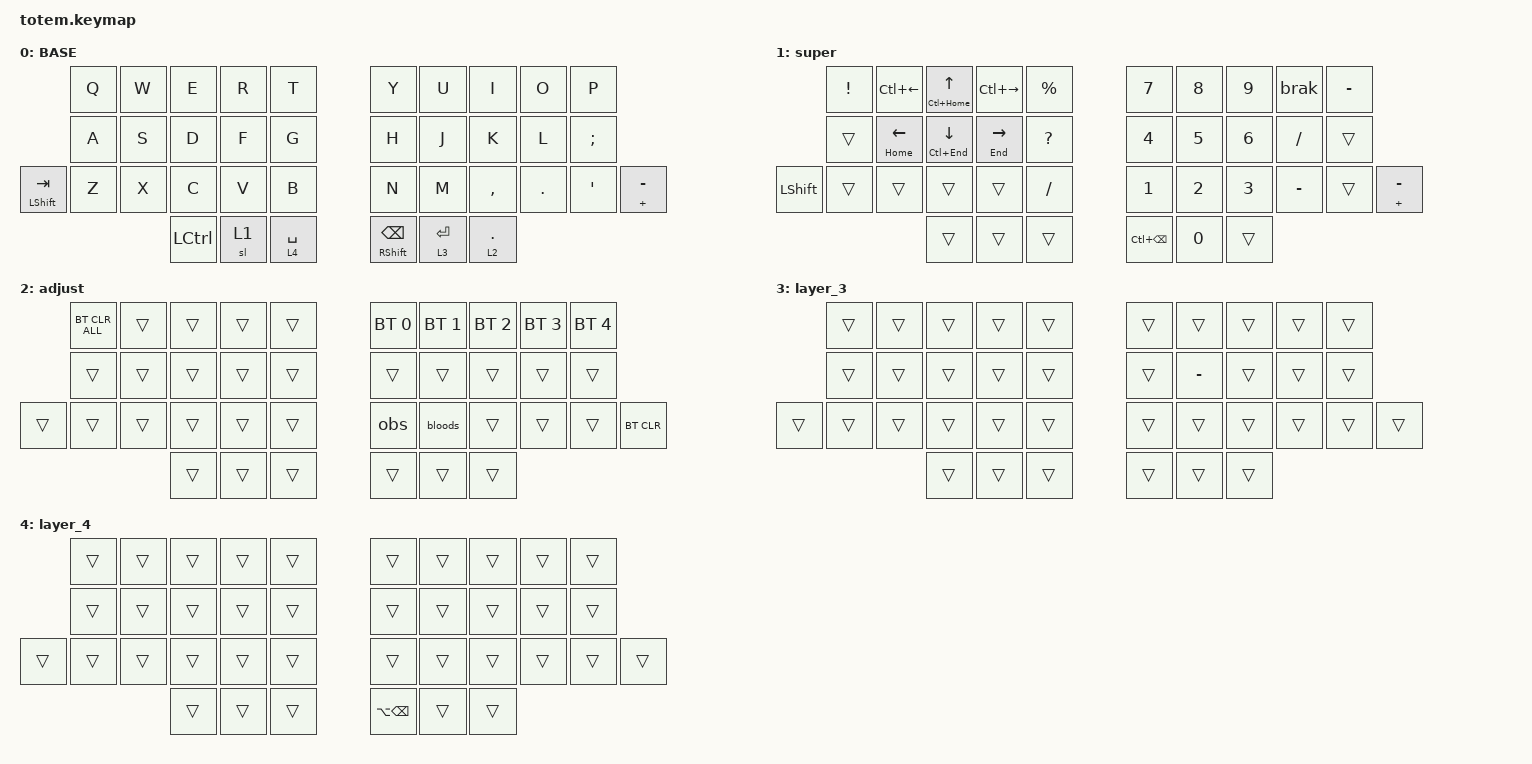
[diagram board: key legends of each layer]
//
//                                                        ▀▀▀▀▀     ▀▀▀▀▀          ▀▀█▀▀
//                                                        ▄▀▀▀▄  ▄  ▄▀▀▀▄  ▄  ▄▀▀▀▄  █  ▄▀▀▀▄
//                                                        █   █  █  █   █  █  █   █  █  █   █
//                                                         ▀▀▀   █   ▀▀▀   █   ▀▀▀   ▀   ▀▀▀
//                                                               █      ▄▄▄█▄▄▄    █   █  
//                                                               ▀      █  █  █     █▄█
//                                                             ▀▀▀▀▀    █  █  █      ▀
//                                                                      ▀  ▀  ▀
// james was here
// ▄▄▄▄▄▄▄▄▄▄▄▄▄▄▄▄▄▄▄▄▄▄▄▄▄▄▄▄▄▄▄▄▄▄▄▄▄▄▄▄▄▄▄▄▄▄▄▄▄▄▄▄▄▄▄▄▄▄▄▄▄▄▄▄▄▄▄▄▄▄▄▄▄▄▄▄▄▄▄▄▄▄▄▄▄▄▄▄▄▄▄▄▄▄▄▄▄▄▄▄▄▄▄▄▄▄▄▄▄▄▄▄▄▄▄▄▄▄▄▄▄▄▄▄▄▄▄▄▄▄▄▄▄▄▄▄▄▄▄▄▄▄▄▄▄▄▄▄▄

#include <behaviors/num_word.dtsi>
#include <behaviors.dtsi>
#include <dt-bindings/zmk/bt.h>
#include <dt-bindings/zmk/keys.h>

#define BASE 0
#define SUP  1
#define ADJ  2
#define NAVL 3
#define NAVR 4

&mt {
    quick-tap-ms = <0>;
    global-quick-tap;
    flavor = "balanced";
    tapping-term-ms = <200>;
    bindings = <&kp>, <&kp>;
};

/ {
    combos {
        compatible = "zmk,combos";

        escape {
            bindings = <&kp ESC>;
            key-positions = <0 1>;
            require-prior-idle-ms = <280>;
            layers = <0 1 2>;
        };

        delete {
            bindings = <&kp DELETE>;
            key-positions = <8 9>;
            require-prior-idle-ms = <280>;
            layers = <0 1>;
        };

        excl {
            bindings = <&kp EXCLAMATION>;
            key-positions = <0 10>;
            require-prior-idle-ms = <280>;
            layers = <0 1>;
        };

        at {
            bindings = <&kp AT>;
            key-positions = <1 11>;
            require-prior-idle-ms = <280>;
            layers = <0 1>;
        };

        hash {
            bindings = <&kp HASH>;
            key-positions = <2 12>;
            require-prior-idle-ms = <280>;
            layers = <0 1>;
        };

        dollar {
            bindings = <&kp DOLLAR>;
            key-positions = <3 13>;
            require-prior-idle-ms = <280>;
            layers = <0 1>;
        };

        percent {
            bindings = <&kp PERCENT>;
            key-positions = <4 14>;
            require-prior-idle-ms = <280>;
            layers = <0 1>;
        };

        caret {
            bindings = <&kp CARET>;
            key-positions = <5 15>;
            require-prior-idle-ms = <280>;
            layers = <0 1>;
        };

        andsign {
            bindings = <&kp AMPERSAND>;
            key-positions = <6 16>;
            layers = <0 1>;
            require-prior-idle-ms = <280>;
        };

        starsign {
            bindings = <&kp STAR>;
            key-positions = <7 17>;
            layers = <0 1>;
            require-prior-idle-ms = <280>;
        };

        lpare {
            bindings = <&kp LEFT_PARENTHESIS>;
            key-positions = <8 18>;
            layers = <0 1>;
            require-prior-idle-ms = <280>;
        };

        rpare {
            bindings = <&kp RIGHT_PARENTHESIS>;
            key-positions = <9 19>;
            layers = <0 1>;
            require-prior-idle-ms = <280>;
        };
    };

    behaviors {
        Arrowtap: Arrowtap {
            compatible = "zmk,behavior-hold-tap";
            label = "ARROWTAP";
            bindings = <&kp>, <&kp>;

            #binding-cells = <2>;
            tapping-term-ms = <180>;
            quick-tap-ms = <125>;
            flavor = "tap-preferred";
        };

        macbrak: macbrak {
            compatible = "zmk,behavior-hold-tap";
            label = "MACBRAK";
            bindings = <&kp>, <&brak>;

            #binding-cells = <2>;
            tapping-term-ms = <180>;
            quick-tap-ms = <125>;
            flavor = "tap-preferred";
        };

        timelessspace: timelessspace {
            compatible = "zmk,behavior-hold-tap";
            label = "TIMELESSSPACE";
            bindings = <&mo>, <&kp>;

            #binding-cells = <2>;
            tapping-term-ms = <200>;
            quick-tap-ms = <200>;
            require-prior-idle-ms = <150>;
            flavor = "balanced";
            hold-trigger-key-positions = <35>;
            retro-tap;
        };
    };

    macros {
        obs: obs {
            compatible = "zmk,behavior-macro";
            #binding-cells = <0>;
            bindings = <&kp LS(R) &kp LS(R) &kp SPACE &kp RET &kp LS(O) &kp N2 &kp SPACE &kp RET &kp LS(B) &kp LS(P) &kp SPACE &kp RET &kp LS(H) &kp LS(R) &kp SPACE &kp RET &kp LS(T) &kp SPACE &kp UP_ARROW &kp UP_ARROW &kp UP_ARROW &kp UP_ARROW>;
            label = "obs";
            wait-ms = <20>;
            tap-ms = <10>;
        };

        bloods: bloods {
            compatible = "zmk,behavior-macro";
            #binding-cells = <0>;
            bindings = <&kp LS(H) &kp B &kp SPACE &kp RET &kp LS(W) &kp LS(B) &kp LS(C) &kp SPACE &kp RET &kp LS(N) &kp E &kp U &kp T &kp SPACE &kp RET &kp RET &kp LS(N) &kp A &kp SPACE &kp RET &kp LS(K) &kp SPACE &kp RET &kp LS(C) &kp R &kp SPACE &kp RET &kp RET &kp LS(C) &kp LS(R) &kp LS(P) &kp SPACE &kp UP_ARROW &kp UP_ARROW &kp UP_ARROW &kp UP_ARROW &kp UP_ARROW &kp UP_ARROW &kp UP_ARROW &kp UP_ARROW>;
            label = "BLOODS";
            wait-ms = <20>;
            tap-ms = <10>;
        };

        brak: brak {
            compatible = "zmk,behavior-macro";
            #binding-cells = <0>;
            bindings = <&none &kp LPAR &kp RPAR &kp LEFT_ARROW>;
            label = "BRAK";
        };
    };

    keymap {
        compatible = "zmk,keymap";

        base_layer {
            label = "BASE";
            bindings = <
                    &kp Q  &kp W  &kp E      &kp R  &kp T                     &kp Y                &kp U        &kp I         &kp O    &kp P
                    &kp A  &kp S  &kp D      &kp F  &kp G                     &kp H                &kp J        &kp K         &kp L    &kp SEMICOLON
&mt LEFT_SHIFT TAB  &kp Z  &kp X  &kp C      &kp V  &kp B                     &kp N                &kp M        &kp COMMA     &kp DOT  &kp SQT        &Arrowtap PLUS MINUS
                                  &kp LCTRL  &sl 1  &timelessspace 4 SPACE    &mt RSHFT BACKSPACE  &lt 3 ENTER  &lt 2 PERIOD
            >;
        };

        SUPER {
            bindings = <
                &kp EXCL  &kp LC(LEFT_ARROW)   &Arrowtap LC(HOME) UP_ARROW   &kp LC(RIGHT)              &kp PERCENT     &kp N7             &kp N8        &kp N9  &brak      &kp MINUS
                &trans    &Arrowtap HOME LEFT  &Arrowtap LC(END) DOWN_ARROW  &Arrowtap END RIGHT_ARROW  &kp QUESTION    &kp N4             &kp N5        &kp N6  &kp FSLH   &trans
&kp LEFT_SHIFT  &trans    &trans               &trans                        &trans                     &kp SLASH       &kp N1             &kp N2        &kp N3  &kp MINUS  &trans     &Arrowtap PLUS MINUS
                                               &trans                        &trans                     &trans          &kp LC(BACKSPACE)  &kp NUMBER_0  &trans
            >;

            label = "super";
        };

        adjust {
            bindings = <
        &bt BT_CLR_ALL  &trans  &trans  &trans  &trans    &bt BT_SEL 0  &bt BT_SEL 1  &bt BT_SEL 2  &bt BT_SEL 3  &bt BT_SEL 4
        &trans          &trans  &trans  &trans  &trans    &trans        &trans        &trans        &trans        &trans
&trans  &trans          &trans  &trans  &trans  &trans    &obs          &bloods       &trans        &trans        &trans        &bt BT_CLR
                                &trans  &trans  &trans    &trans        &trans        &trans
            >;
        };

        layer_3 {
            bindings = <
        &trans  &trans  &trans  &trans  &trans    &trans  &trans     &trans  &trans  &trans
        &trans  &trans  &trans  &trans  &trans    &trans  &kp MINUS  &trans  &trans  &trans
&trans  &trans  &trans  &trans  &trans  &trans    &trans  &trans     &trans  &trans  &trans  &trans
                        &trans  &trans  &trans    &trans  &trans     &trans
            >;
        };

        layer_4 {
            bindings = <
        &trans  &trans  &trans  &trans  &trans    &trans             &trans  &trans  &trans  &trans
        &trans  &trans  &trans  &trans  &trans    &trans             &trans  &trans  &trans  &trans
&trans  &trans  &trans  &trans  &trans  &trans    &trans             &trans  &trans  &trans  &trans  &trans
                        &trans  &trans  &trans    &kp LA(BACKSPACE)  &trans  &trans
            >;
        };
    };
};
